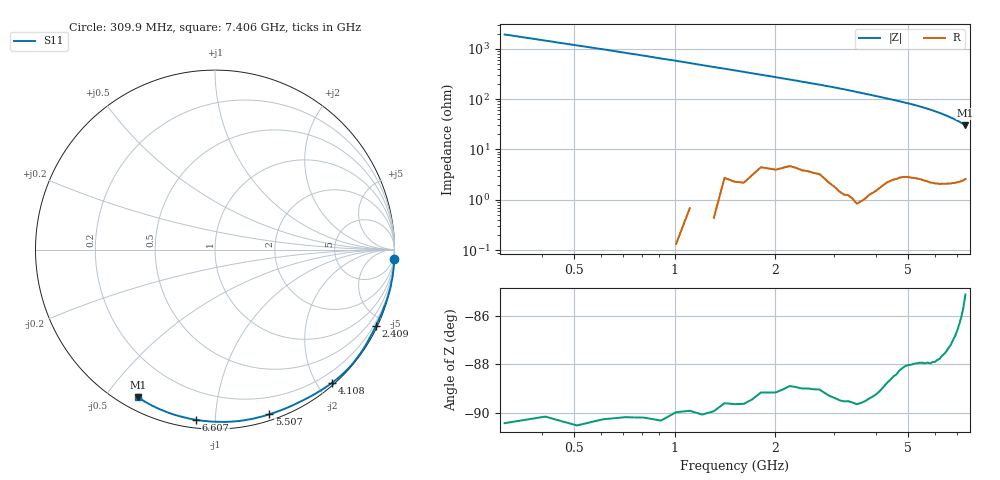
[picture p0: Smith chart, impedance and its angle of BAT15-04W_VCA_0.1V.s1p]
! Infineon Technologies  Discrete & RF Semiconductors
! BAT15-04W-E6327
! VCA = 0.1 V
! One-Port S-Parameters
# Hz  S  MA  R  50
!f  S11
!Hz  Mag  Ang
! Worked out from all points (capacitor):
!   72 points, 309.9 MHz to 7.406 GHz, reference 50 ohm
!   read as one part to ground: C = 268 fF near 309.9 MHz
!   lowest |Z| = 30.3 ohm at 7.406 GHz (marker M1)
!   S11 on the Smith chart (normalised r, x): 309.9 MHz: -0, -38; 2.409 GHz: 0.08, -4.42; 4.108 GHz: 0.03, -2.21; 5.507 GHz: 0.05, -1.38; 6.607 GHz: 0.04, -0.90; 7.406 GHz: 0.05, -0.60
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3.0985e8  1 -3.0
8.096e8  1 -7.9
1.2094e9  1 -12.1
1.6092e9  0.9982 -16.4
2.10895e9  0.9937 -22.0
2.30885e9  0.9925 -24.2
2.4088e9  0.9925 -25.5
2.70865e9  0.9919 -28.9
3.0085e9  0.9943 -32.8
3.2084e9  0.9953 -35.5
3.50825e9  0.9961 -39.8
3.6082e9  0.9954 -41.2
3.90805e9  0.9918 -45.7
4.10795e9  0.9883 -48.7
4.6077e9  0.9772 -56.3
4.8076e9  0.9725 -59.6
5.2074e9  0.9682 -66.2
5.4073e9  0.9666 -69.8
5.50725e9  0.9662 -71.8
5.70715e9  0.9655 -75.7
6.007e9  0.9642 -82.1
6.2069e9  0.9618 -86.7
6.4068e9  0.9583 -91.4
6.6067e9  0.9542 -96.3
6.8066e9  0.9496 -101.3
7.0065e9  0.9444 -106.5
7.2064e9  0.9374 -111.9
7.4063e9  0.9269 -117.6
